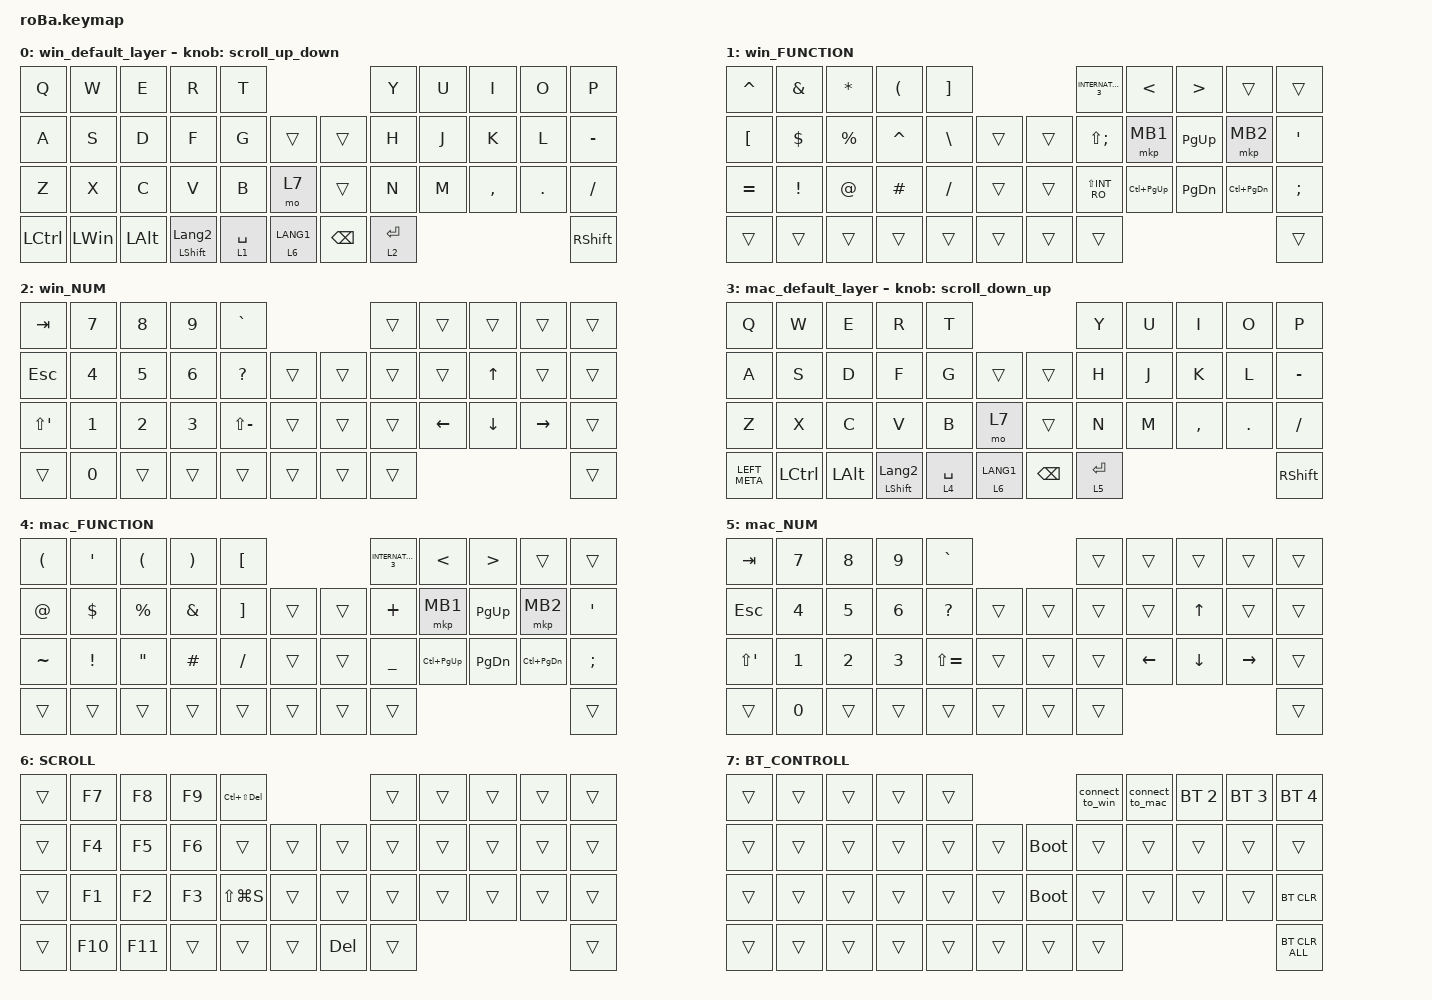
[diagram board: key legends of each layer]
#include <behaviors.dtsi>
#include <dt-bindings/zmk/bt.h>
#include <dt-bindings/zmk/keys.h>
#include <dt-bindings/zmk/pointing.h>

// スクロール量を変更

#define ZMK_POINTING_DEFAULT_SCRL_VAL 100
#define SCROLL 6

&mt {
    flavor = "balanced";
    quick-tap-ms = <0>;
};

/ {
    combos {
        compatible = "zmk,combos";

        tab {
            bindings = <&kp TAB>;
            key-positions = <11 12>;
        };

        shift_tab {
            bindings = <&kp LS(TAB)>;
            key-positions = <12 13>;
        };

        muhennkann {
            bindings = <&to_layer_0 INT_MUHENKAN>;
            key-positions = <11 10>;
        };

        double_quotation {
            bindings = <&kp DOUBLE_QUOTES>;
            key-positions = <20 21>;
        };

        eq {
            bindings = <&kp EQUAL>;
            key-positions = <24 25>;
        };
    };

    macros {
        to_layer_0: to_layer_0 {
            compatible = "zmk,behavior-macro-one-param";
            #binding-cells = <1>;
            bindings = <&to 0 &macro_param_1to1 &kp MACRO_PLACEHOLDER>;
            label = "TO_LAYER_0";
        };

        connect_to_win: connect_to_win {
            compatible = "zmk,behavior-macro";
            #binding-cells = <0>;
            bindings = <&to 0 &bt BT_SEL 1>;
            label = "CONNECT_TO_WIN";
        };

        connect_to_mac: connect_to_mac {
            compatible = "zmk,behavior-macro";
            #binding-cells = <0>;
            bindings = <&to 3 &bt BT_SEL 0>;
            label = "CONNECT_TO_MAC";
        };

        new_macro: new_macro {
            compatible = "zmk,behavior-macro";
            #binding-cells = <0>;
            bindings = <&to 3 &bt BT_SEL 2>;
            label = "NEW_MACRO";
        };
    };

    behaviors {
        lt_to_layer_0: lt_to_layer_0 {
            compatible = "zmk,behavior-hold-tap";
            label = "LAYER_TAP_TO_0";
            bindings = <&mo>, <&to_layer_0>;

            #binding-cells = <2>;
            tapping-term-ms = <200>;
        };

        // winのロータリーエンコーダ方向

        scroll_up_down: behavior_sensor_rotate_mouse_wheel_up_down {
            compatible = "zmk,behavior-sensor-rotate";
            #sensor-binding-cells = <0>;
            bindings = <&msc SCRL_DOWN>, <&msc SCRL_UP>;

            // 追加: スクロールのタップ時間を設定 (20ms)

            tap-ms = <20>;
        };

        // macのロータリーエンコーダ方向

        scroll_down_up: behavior_sensor_rotate_mouse_wheel_down_up {
            compatible = "zmk,behavior-sensor-rotate";
            #sensor-binding-cells = <0>;
            bindings = <&msc SCRL_UP>, <&msc SCRL_DOWN>;

            // 追加: スクロールのタップ時間を設定 (20ms)

            tap-ms = <20>;
        };
    };

    keymap {
        compatible = "zmk,keymap";

        win_default_layer {
            bindings = <
&kp Q      &kp W         &kp E         &kp R                  &kp T                                        &kp Y        &kp U  &kp I      &kp O    &kp P
&kp A      &kp S         &kp D         &kp F                  &kp G        &trans           &trans         &kp H        &kp J  &kp K      &kp L    &kp MINUS
&kp Z      &kp X         &kp C         &kp V                  &kp B        &mo 7            &trans         &kp N        &kp M  &kp COMMA  &kp DOT  &kp SLASH
&kp LCTRL  &kp LEFT_WIN  &kp LEFT_ALT  &mt LSHIFT LANGUAGE_2  &lt 1 SPACE  &lt 6 LANG1      &kp BACKSPACE  &lt 2 ENTER                             &kp RSHFT
            >;

            sensor-bindings = <&scroll_up_down>;
        };

        win_FUNCTION {
            bindings = <
&kp CARET  &kp AMPS  &kp ASTERISK  &kp LPAR   &kp RBKT                           &kp INTERNATIONAL_3  &kp LT           &kp GT         &trans             &trans
&kp LBKT   &kp DLLR  &kp PRCNT     &kp CARET  &kp BACKSLASH  &trans      &trans  &kp LS(SEMI)         &mkp MB1         &kp PAGE_UP    &mkp MB2           &kp SQT
&kp EQUAL  &kp EXCL  &kp AT        &kp HASH   &kp FSLH       &trans      &trans  &kp LS(INT_RO)       &kp LC(PAGE_UP)  &kp PAGE_DOWN  &kp LC(PAGE_DOWN)  &kp SEMI
&trans     &trans    &trans        &trans     &trans         &trans      &trans  &trans                                                                  &trans
            >;
        };

        win_NUM {
            bindings = <
&kp TAB      &kp NUMBER_7  &kp NUMBER_8  &kp NUMBER_9  &kp GRAVE                          &trans  &trans          &trans          &trans           &trans
&kp ESC      &kp NUMBER_4  &kp NUMBER_5  &kp NUMBER_6  &kp QUESTION   &trans      &trans  &trans  &trans          &kp UP_ARROW    &trans           &trans
&kp LS(SQT)  &kp NUMBER_1  &kp NUMBER_2  &kp NUMBER_3  &kp LS(MINUS)  &trans      &trans  &trans  &kp LEFT_ARROW  &kp DOWN_ARROW  &kp RIGHT_ARROW  &trans
&trans       &kp NUMBER_0  &trans        &trans        &trans         &trans      &trans  &trans                                                   &trans
            >;
        };

        mac_default_layer {
            bindings = <
&kp Q          &kp W      &kp E         &kp R                  &kp T                                        &kp Y        &kp U  &kp I      &kp O    &kp P
&kp A          &kp S      &kp D         &kp F                  &kp G        &trans           &trans         &kp H        &kp J  &kp K      &kp L    &kp MINUS
&kp Z          &kp X      &kp C         &kp V                  &kp B        &mo 7            &trans         &kp N        &kp M  &kp COMMA  &kp DOT  &kp SLASH
&kp LEFT_META  &kp LCTRL  &kp LEFT_ALT  &mt LSHIFT LANGUAGE_2  &lt 4 SPACE  &lt 6 LANG1      &kp BACKSPACE  &lt 5 ENTER                             &kp RSHFT
            >;

            sensor-bindings = <&scroll_down_up>;
        };

        mac_FUNCTION {
            bindings = <
&kp LEFT_PARENTHESIS  &kp SINGLE_QUOTE  &kp LEFT_PARENTHESIS  &kp RIGHT_PARENTHESIS  &kp LEFT_BRACKET                       &kp INTERNATIONAL_3  &kp LT           &kp GT         &trans             &trans
&kp AT                &kp DLLR          &kp PRCNT             &kp AMPS               &kp RIGHT_BRACKET  &trans      &trans  &kp PLUS             &mkp MB1         &kp PAGE_UP    &mkp MB2           &kp SQT
&kp TILDE             &kp EXCL          &kp DOUBLE_QUOTES     &kp HASH               &kp FSLH           &trans      &trans  &kp UNDERSCORE       &kp LC(PAGE_UP)  &kp PAGE_DOWN  &kp LC(PAGE_DOWN)  &kp SEMI
&trans                &trans            &trans                &trans                 &trans             &trans      &trans  &trans                                                                  &trans
            >;
        };

        mac_NUM {
            bindings = <
&kp TAB      &kp NUMBER_7  &kp NUMBER_8  &kp NUMBER_9  &kp GRAVE                          &trans  &trans          &trans          &trans           &trans
&kp ESC      &kp NUMBER_4  &kp NUMBER_5  &kp NUMBER_6  &kp QUESTION   &trans      &trans  &trans  &trans          &kp UP_ARROW    &trans           &trans
&kp LS(SQT)  &kp NUMBER_1  &kp NUMBER_2  &kp NUMBER_3  &kp LS(EQUAL)  &trans      &trans  &trans  &kp LEFT_ARROW  &kp DOWN_ARROW  &kp RIGHT_ARROW  &trans
&trans       &kp NUMBER_0  &trans        &trans        &trans         &trans      &trans  &trans                                                   &trans
            >;
        };

        SCROLL {
            bindings = <
&trans  &kp F7   &kp F8   &kp F9  &kp LC(LS(DELETE))                       &trans  &trans  &trans  &trans  &trans
&trans  &kp F4   &kp F5   &kp F6  &trans              &trans      &trans   &trans  &trans  &trans  &trans  &trans
&trans  &kp F1   &kp F2   &kp F3  &kp LS(LG(S))       &trans      &trans   &trans  &trans  &trans  &trans  &trans
&trans  &kp F10  &kp F11  &trans  &trans              &trans      &kp DEL  &trans                          &trans
            >;
        };

        BT_CONTROLL {
            bindings = <
&trans  &trans  &trans  &trans  &trans                           &connect_to_win  &connect_to_mac  &bt BT_SEL 2  &bt BT_SEL 3  &bt BT_SEL 4
&trans  &trans  &trans  &trans  &trans  &trans      &bootloader  &trans           &trans           &trans        &trans        &trans
&trans  &trans  &trans  &trans  &trans  &trans      &bootloader  &trans           &trans           &trans        &trans        &bt BT_CLR
&trans  &trans  &trans  &trans  &trans  &trans      &trans       &trans                                                        &bt BT_CLR_ALL
            >;
        };
    };
};
